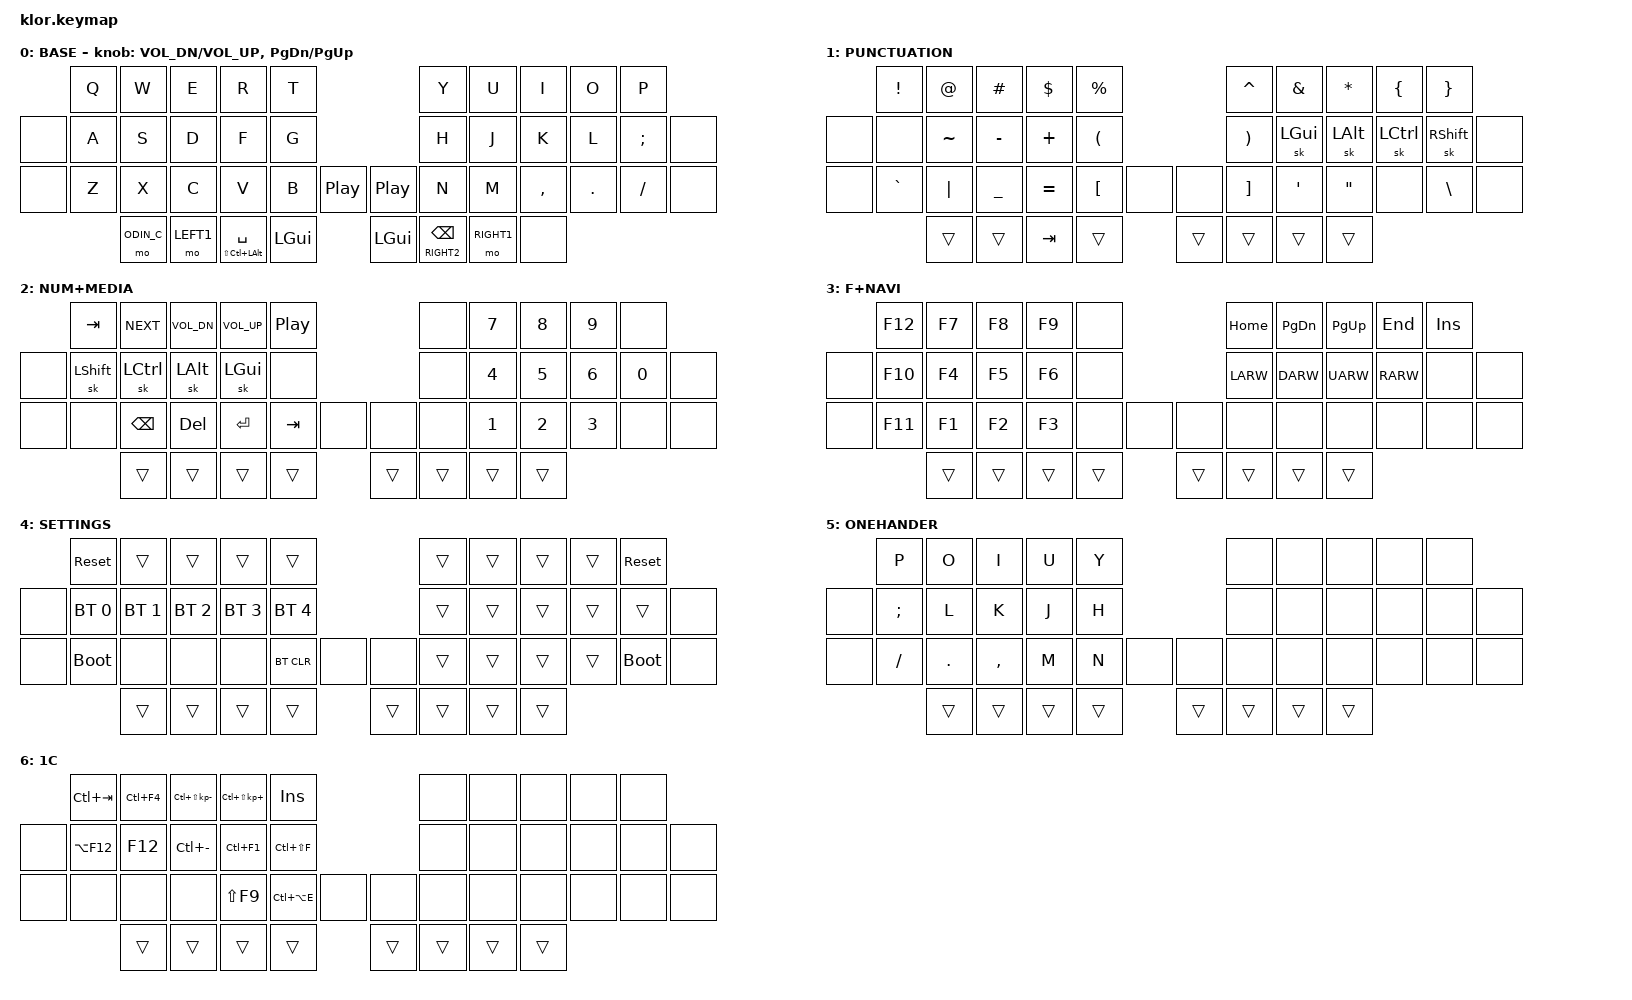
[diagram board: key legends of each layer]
//        █         █    █            ▄▄▄▀▀▀▀▀▀▄▄▄        █▀▀▀▀▀▀▀▀▀▀█
//        █        █     █          ▄▀            ▀▄      █          █
//        █       █      █        ▄▀                ▀▄    █          █
//        █      █       █        █                  █    █          █
//        █     █        █       █                    █   █          █
//        █    █         █       █                    █   █▄▄▄▄▄▄▄▄▄▄█
//        █   █ █        █       █                    █   █      █
//        █  █   █       █        █                  █    █       █
//        █ █     █      █        ▀▄                ▄▀    █        █
//        ██       █     █          ▀▄            ▄▀      █         █
//        █         █    █▄▄▄▄▄▄▄▄    ▀▀▀▄▄▄▄▄▄▀▀▀        █          █
//
// ▄▄▄▄▄▄▄▄▄▄▄▄▄▄▄▄▄▄▄▄▄▄▄▄▄▄▄▄▄▄▄▄▄▄▄▄▄▄▄▄▄▄▄▄▄▄▄▄▄▄▄▄▄▄▄▄▄▄▄▄▄▄▄▄▄▄▄▄▄▄▄▄▄▄▄▄▄▄▄▄▄▄▄▄▄▄▄▄▄▄▄▄▄▄▄▄▄▄▄▄▄▄▄▄▄▄▄▄▄▄▄▄▄▄▄▄▄▄▄▄▄▄▄▄▄

#include <behaviors.dtsi>
#include <dt-bindings/zmk/keys.h>
#include <dt-bindings/zmk/bt.h>
#include <dt-bindings/zmk/outputs.h>
#include <dt-bindings/zmk/ext_power.h>
#include <dt-bindings/zmk/rgb.h>

#define DEFAULT 0
#define RIGHT1   1
#define LEFT1    2
#define RIGHT2   3
#define TRI      4
#define ONEHAND  5
#define ODIN_C   6 


&sensors {
    left_encoder {
        triggers-per-rotation = <20>;
    };

    right_encoder {
        triggers-per-rotation = <20>;
    };
};

&lt {
    tapping-term-ms = <250>;
    // quick-tap-ms = <150>;
};

&mt {
    tapping-term-ms = <250>;
    flavor = "tap-preferred";
    // quick-tap-ms = <150>;
};

/ {
    macros {
        language_macro: language_macro {
            compatible = "zmk,behavior-macro";
            #binding-cells = <0>;
            wait-ms = <10>;
            tap-ms = <5>;
            bindings
                = <&kp LS(LC(LA(BSLH)))>
                , <&kp LA(LSHIFT)>

                // = <&macro_press &kp LSHIFT &kp LALT &kp LCTRL>
                // , <&macro_tap &kp BSLH>
                // , <&macro_release &kp LSHIFT &kp LALT &kp LCTRL>

                // , <&macro_press &kp LALT &kp LSHIFT>
                // , <&macro_release &kp LALT &kp LSHIFT>
                ;
        };
        language_macro_ru: language_macro_ru {
            compatible = "zmk,behavior-macro";
            #binding-cells = <0>;
            wait-ms = <10>;
            tap-ms = <5>;
            bindings
                = <&kp LS(LC(LA(MINUS)))>
                , <&kp LA(LSHIFT)>
                ;
        };
    };

    combos {
        #include "combos.dtsi"
    };

    behaviors {
        ht: hold_tap {
            label = "hold_tap";
            compatible = "zmk,behavior-hold-tap";
            #binding-cells = <2>;
            flavor = "tap-preferred";
            // flavor = "balanced";
            // flavor = "hold-preferred";
            //tapping-term-ms = <220>;
            tapping-term-ms = <190>;
            quick-tap-ms = <150>;
            require-prior-idle-ms = <100>;
            bindings = <&kp>, <&kp>;
        };
    };

    conditional_layers {
        compatible = "zmk,conditional-layers";
        tri_layer {
            if-layers = <RIGHT1 LEFT1>;
            then-layer = <TRI>;
        };
    };

    keymap {
        compatible = "zmk,keymap";
        default_layer {
            label= "BASE";
            bindings = <
        //           ╭──────────┬──────────┬──────────┬──────────┬──────────╮                     ╭──────────┬──────────┬──────────┬──────────┬──────────╮
        //           │  Q       │  W       │  E       │  R       │  T       │                     │  Y       │  U       │  I       │  O       │  P       │
                       &kp Q      &kp W      &kp E      &kp R      &kp T                            &kp Y      &kp U      &kp I      &kp O      &kp P
        //╭──────────├──────────┼──────────┼──────────┼──────────┼──────────┤                     ├──────────┼──────────┼──────────┼──────────┼──────────┤──────────╮
        //│ Отрезал  │  A       │  S       │  D       │  F       │  G       │                     │  H       │  J       │  K       │  L       │ ; :      │ Отрезал  │
            &none      &kp A      &kp S      &kp D      &kp F      &kp G                            &kp H      &kp J      &kp K      &kp L     &kp SEMI    &none
        //╭──────────├──────────┼──────────┼──────────┼──────────┼──────────┤╭────────╮╭────────╮ ├──────────┼──────────┼──────────┼──────────┼──────────┤──────────╮
        //│ Отрезал  │  Z       │  X       │  C       │  V       │  B       ││  MUTE  ││PLY/PSE │ │  N       │  M       │ , <      │ . >      │ / ?      │ Отрезал  │
            &none      &kp Z      &kp X      &kp C      &kp V      &kp B      &kp C_PP  &kp C_PP    &kp N      &kp M      &kp COMMA  &kp DOT    &kp FSLH   &none
        //╰──────────┴──────────┴──────────┼──────────┼──────────┤───────────├────────├───────────├──────────┼──────────┼──────────┴──────────┴──────────┴──────────╯
        //                      │ хз что  │  LEFT1    │ Пробел+apps          │ хз что │ хз что    │Bcksp+RIGHT2   │ RIGHT1     │ пусто │
                                &mo ODIN_C &mo LEFT1  &mt LS(LC(LALT)) SPACE &kp LGUI  &kp LGUI   &lt RIGHT2 BSPC  &mo RIGHT1  &none
        //                      ╰─────────┴──────────┴───────────────────────┴────────┴───────────┴───────────────┴────────────┴───────╯
            >;
            sensor-bindings = <&inc_dec_kp C_VOL_DN C_VOL_UP &inc_dec_kp PG_DN PG_UP>;
        };

        right1_layer {
            label= "PUNCTUATION";
            /*        ┌─────────┬─────────┬─────────┬─────────┬─────────┐                    ┌─────────┬─────────┬─────────┬─────────┬─────────┐
                      │ !       │  @      │  #      │  $      │ %       │                    │  ^      │  &      │  *      │  {      │  }      │
            ┌─────────┼─────────┼─────────┼─────────┼─────────┼─────────┤                    ├─────────┼─────────┼─────────┼─────────┼─────────┼─────────┐
            │ Отерзал │         │  ~      │  -      │  +      │ (       │                    │  )      │  Command│  Option │  Control│  Shift  │ Отрезал │
            ├─────────┼─────────┼─────────┼─────────┼─────────┼─────────┤╭────────╮╭────────╮├─────────┼─────────┼─────────┼─────────┼─────────┼─────────┤
            │ Отерзал │ `       │ |       │ _       │  =      │  [       │        ││        ││  ]      │  '      │  "      │         │    \    │ Отрезал │
            └─────────┴─────────┴─────────┼─────────┼─────────┼─────────┼╰────────╯╰────────╯┼─────────┼─────────┼─────────┼─────────┴─────────┴─────────┘
                                          │         │         │         │         ││         │         │         │         │  
                                          └─────────┴─────────┴─────────┴─────────┘└─────────┴─────────┴─────────┴─────────┘ */ 
            bindings = <
          //╷         ╷         ╷         ╷         ╷         ╷         ╷         ╷╷         ╷         ╷         ╷         ╷         ╷         ╷         ╷
                       &kp EXCL  &kp AT    &kp HASH  &kp DLLR  &kp PRCNT                      &kp CARET  &kp AMPS &kp ASTRK &kp LBRC  &kp RBRC
             &none     &none     &kp TILDE &kp MINUS &kp PLUS  &kp LPAR                       &kp RPAR   &sk LGUI &sk LALT  &sk LCTRL &sk RSHFT  &none
             &none     &kp GRAVE &kp PIPE  &kp UNDER &kp EQUAL &kp LBKT  &none      &none     &kp RBKT   &kp SQT  &kp DQT   &none     &kp BSLH   &none
                                           &trans    &trans    &kp TAB   &trans     &trans    &trans     &trans   &trans
            >;
        };


        left1_layer {
            label= "NUM+MEDIA";
            /*        ┌─────────┬─────────┬─────────┬─────────┬─────────┐                    ┌─────────┬─────────┬─────────┬─────────┬─────────┐
                      │ Tab     │Next song│Vol Down │ Vol UP  │ Pause   │                    │         │  7      │  8      │  9      │         │
            ┌─────────┼─────────┼─────────┼─────────┼─────────┼─────────┤                    ├─────────┼─────────┼─────────┼─────────┼─────────┼─────────┐
            │ Отерзал │ Shift   │ Control │ Option  │ Command │         │                    │         │  4      │  5      │  6      │  0      │ Отрезал │
            ├─────────┼─────────┼─────────┼─────────┼─────────┼─────────┤╭────────╮╭────────╮├─────────┼─────────┼─────────┼─────────┼─────────┼─────────┤
            │ Отерзал │         │Backspace│ Delete  │ ENTER   │ TAB      │                   │         |  1      │  2      │  3      │         │ Отрезал │
            └─────────┴─────────┴─────────┼─────────┼─────────┼─────────┼╰────────╯╰────────╯┼─────────┼─────────┼─────────┼─────────┴─────────┴─────────┘
                                          │         │         │         │         ││         │         │         │         │  
                                          └─────────┴─────────┴─────────┴─────────┘└─────────┴─────────┴─────────┴─────────┘ */ 
            bindings = <
          //╷         ╷         ╷         ╷         ╷         ╷         ╷         ╷╷         ╷         ╷         ╷         ╷         ╷         ╷         ╷
                       &kp TAB  &kp C_NEXT &kp C_VOL_DN &kp C_VOL_UP &kp C_PP                 &none     &kp N7     &kp N8     &kp N9   &none    
             &none     &sk LSHFT &sk LCTRL &sk LALT  &sk LGUI   &none                         &none     &kp N4     &kp N5     &kp N6   &kp N0    &none
             &none     &none     &kp BSPC  &kp DEL   &kp ENTER  &kp TAB  &none       &none    &none     &kp N1     &kp N2     &kp N3   &none     &none
                                           &trans    &trans     &trans   &trans      &trans   &trans    &trans     &trans
            >;
        };

        right2_layer {
            label= "F+NAVI";
            /*        ┌─────────┬─────────┬─────────┬─────────┬─────────┐                    ┌─────────┬─────────┬─────────┬─────────┬─────────┐
                      │  F12    │   F7    │   F8    │   F9    │         │                    │ HOME    │ PAGE DN │ PAGE UP │ END     │ Insert  │
            ┌─────────┼─────────┼─────────┼─────────┼─────────┼─────────┤                    ├─────────┼─────────┼─────────┼─────────┼─────────┼─────────┐
            │ Отерзал │  F10    │   F4    │   F5    │   F6    │         │                    │ LEFT    │ DOWN    │ UP      │ RIGHT   │         │ Отрезал │
            ├─────────┼─────────┼─────────┼─────────┼─────────┼─────────┤╭────────╮╭────────╮├─────────┼─────────┼─────────┼─────────┼─────────┼─────────┤
            │ Отерзал │  F11    │   F1    │   F2    │   F3    │          │                   │         │         │         │         │         │ Отрезал │
            └─────────┴─────────┴─────────┼─────────┼─────────┼─────────┼╰────────╯╰────────╯┼─────────┼─────────┼─────────┼─────────┴─────────┴─────────┘
                                          │         │         │         │         ││         │         │         │         │  
                                          └─────────┴─────────┴─────────┴─────────┘└─────────┴─────────┴─────────┴─────────┘ */ 
            bindings = <
          //╷         ╷         ╷         ╷         ╷         ╷         ╷         ╷╷         ╷         ╷         ╷         ╷         ╷         ╷         ╷
                       &kp F12   &kp F7    &kp F8    &kp F9    &none                          &kp HOME  &kp PG_DN &kp PG_UP &kp END   &kp INSERT
             &none     &kp F10   &kp F4    &kp F5    &kp F6    &none                          &kp LARW  &kp DARW  &kp UARW  &kp RARW  &none     &none
             &none     &kp F11   &kp F1    &kp F2    &kp F3    &none     &none      &none     &none     &none     &none     &none     &none     &none
                                           &trans    &trans    &trans   &trans      &trans   &trans    &trans     &trans
            >;
        };

        tri_layer {
            label= "SETTINGS";
            /*        ┌─────────┬─────────┬─────────┬─────────┬─────────┐                    ┌─────────┬─────────┬─────────┬─────────┬─────────┐
                      │ RESET   │         │         │         │         │                    │         │         │         │         │ RESET   │
            ┌─────────┼─────────┼─────────┼─────────┼─────────┼─────────┤                    ├─────────┼─────────┼─────────┼─────────┼─────────┼─────────┐
            │ Отерзал │ PROF 0  │ PROF 1  │ PROF 2  │ PROF 3  │ PROF  4 │                    │         │         │         │         │         │ Отрезал │
            ├─────────┼─────────┼─────────┼─────────┼─────────┼─────────┤╭────────╮╭────────╮├─────────┼─────────┼─────────┼─────────┼─────────┼─────────┤
            │ Отерзал │ BootLdr │         │         │         │ ClearBT ││        ││        ││         │         │         │         │ BootLdr │ Отрезал │
            └─────────┴─────────┴─────────┼─────────┼─────────┼─────────┼╰────────╯╰────────╯┼─────────┼─────────┼─────────┼─────────┴─────────┴─────────┘
                                          │         │         │         │         ││         │         │         │         │  
                                          └─────────┴─────────┴─────────┴─────────┘└─────────┴─────────┴─────────┴─────────┘ */ 

            bindings = <
          //╷         ╷         ╷         ╷         ╷         ╷         ╷         ╷╷         ╷         ╷         ╷         ╷         ╷         ╷         ╷
                      &sys_reset  &trans    &trans    &trans    &trans                         &trans    &trans    &trans    &trans   &sys_reset
            &none   &bt BT_SEL 0  &bt BT_SEL 1 &bt BT_SEL 2 &bt BT_SEL 3 &bt BT_SEL 4          &trans    &trans    &trans    &trans   &trans       &none
            &none   &bootloader   &none     &none    &none      &bt BT_CLR &none     &none     &trans    &trans    &trans    &trans   &bootloader  &none
                                            &trans    &trans    &trans   &trans      &trans   &trans    &trans     &trans

            >;
        };

        onehand_layer {
            label= "ONEHANDER";
            /*        ┌─────────┬─────────┬─────────┬─────────┬─────────┐                    ┌─────────┬─────────┬─────────┬─────────┬─────────┐
                      │    P    │   O     │   I     │   U     │   Y     │                    │         │         │         │         │         │
            ┌─────────┼─────────┼─────────┼─────────┼─────────┼─────────┤                    ├─────────┼─────────┼─────────┼─────────┼─────────┼─────────┐
            │ Отерзал │    :    │   L     │   K     │   J     │   J     │                    │         │         │         │         │         │ Отрезал │
            ├─────────┼─────────┼─────────┼─────────┼─────────┼─────────┤╭────────╮╭────────╮├─────────┼─────────┼─────────┼─────────┼─────────┼─────────┤
            │ Отерзал │    ?    │   >     │   <     │   M     │   N      │                   │         │         │         │         │         │ Отрезал │
            └─────────┴─────────┴─────────┼─────────┼─────────┼─────────┼╰────────╯╰────────╯┼─────────┼─────────┼─────────┼─────────┴─────────┴─────────┘
                                          │         │         │         │         ││         │         │         │         │  
                                          └─────────┴─────────┴─────────┴─────────┘└─────────┴─────────┴─────────┴─────────┘ */ 
            bindings = <
          //╷         ╷         ╷         ╷         ╷         ╷         ╷         ╷╷         ╷         ╷         ╷         ╷         ╷         ╷         ╷
                       &kp P     &kp O     &kp I      &kp U    &kp Y                          &none     &none     &none     &none     &none 
             &none     &kp SEMI  &kp L     &kp K      &kp J    &kp H                          &none     &none     &none     &none     &none     &none
             &none     &kp FSLH  &kp DOT   &kp COMMA  &kp M    &kp N     &none      &none     &none     &none     &none     &none     &none     &none
                                           &trans    &trans    &trans   &trans      &trans   &trans    &trans     &trans
            >;
        };


        odin_c_layer {
            label = "1C";
            /*        ┌─────────┬───────────┬─────────────────────┬──────────────────────┬───────────────────┐                                     ┌─────────┬─────────┬─────────┬─────────┬─────────┐
                      │         │           │                     │                      │                   │                                     │         │         │         │         │         │
            ┌─────────┼─────────┼───────────┼─────────────────────┼──────────────────────┼───────────────────┤                                     ├─────────┼─────────┼─────────┼─────────┼─────────┼─────────┐
            │ Отерзал │         │           │                     │                      │                   │                                     │         │         │         │         │         │ Отрезал │
            ├─────────┼─────────┼───────────┼─────────────────────┼──────────────────────┼───────────────────┤╭────────╮                 ╭────────╮├─────────┼─────────┼─────────┼─────────┼─────────┼─────────┤
            │ Отерзал │         │           │                     │                      │                   │                           │         │         │         │         │         │         │ Отрезал
            └─────────┴─────────┴───────────┼─────────────────────┼──────────────────────┼───────────────────┼╰────────╯                 ╰────────╯┼─────────┼─────────┼─────────┼─────────┴─────────┴─────────┘
                                            │                     │                      │                   │         │                 │         │         │         │         │  
                                            └─────────────────────┴──────────────────────┴───────────────────┴─────────┘                 └─────────┴─────────┴─────────┴─────────┘ */ 



            bindings = <
          //╷         ╷         ╷           ╷                     ╷                      ╷                   ╷         ╷                 ╷         ╷         ╷         ╷         ╷         ╷         ╷         ╷
                     &kp LC(TAB) &kp LC(F4)  &kp LC(LS(KP_MINUS))  &kp LC(LS(KP_PLUS))    &kp INS                                                    &none     &none     &none     &none     &none 
             &none   &kp LA(F12) &kp F12     &kp LC(MINUS)         &kp LC(F1)             &kp LC(LS(F))                                              &none     &none     &none     &none     &none     &none
             &none   &none       &none       &none                 &kp LS(F9)             &kp LC(LA(E))       &none                       &none      &none     &none     &none     &none     &none     &none
                                             &trans                &trans                 &trans              &trans                      &trans     &trans    &trans     &trans
            >;


                    // &kp LC(TAB) &kp LC(F4)   &kp LC(LS(KP_MINUS))  &kp INS  &kp LC(PAUSE_BREAK)  &none      &none      &none      &none       &none
                    // &kp LA(F12) &kp F12     &none              &kp LC(F1) &kp LC(LS(F))   &none      &none      &none      &none       &none
                    // &none      &none       &none               &none      &none          &none      &none      &none      &none       &none
                                                    //   &trans     &trans         &trans     &trans

        };







    };
};
